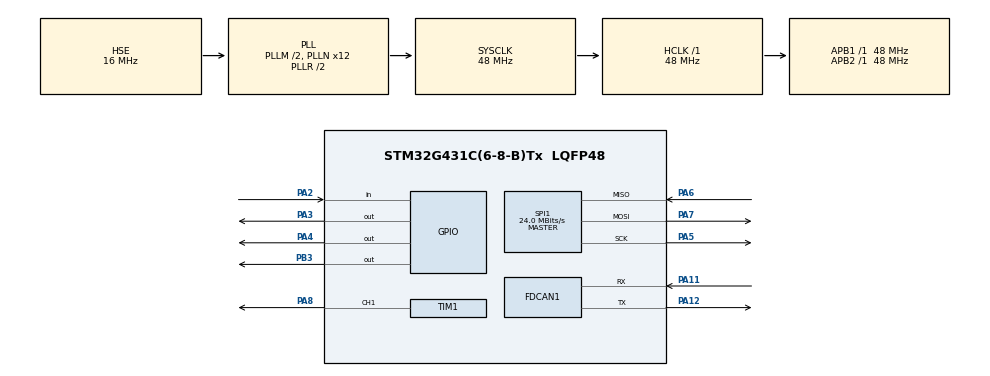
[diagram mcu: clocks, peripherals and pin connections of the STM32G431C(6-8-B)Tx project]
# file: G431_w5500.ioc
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Dma.Request0=TIM1_CH1
Dma.TIM1_CH1.0.Direction=DMA_MEMORY_TO_PERIPH
Dma.TIM1_CH1.0.EventEnable=DISABLE
Dma.TIM1_CH1.0.Instance=DMA1_Channel1
Dma.TIM1_CH1.0.MemDataAlignment=DMA_MDATAALIGN_HALFWORD
Dma.TIM1_CH1.0.MemInc=DMA_MINC_ENABLE
Dma.TIM1_CH1.0.Mode=DMA_NORMAL
Dma.TIM1_CH1.0.PeriphDataAlignment=DMA_PDATAALIGN_HALFWORD
Dma.TIM1_CH1.0.PeriphInc=DMA_PINC_DISABLE
Dma.TIM1_CH1.0.Polarity=HAL_DMAMUX_REQ_GEN_RISING
Dma.TIM1_CH1.0.Priority=DMA_PRIORITY_LOW
Dma.TIM1_CH1.0.RequestNumber=1
Dma.TIM1_CH1.0.SignalID=NONE
Dma.TIM1_CH1.0.SyncEnable=DISABLE
Dma.TIM1_CH1.0.SyncPolarity=HAL_DMAMUX_SYNC_NO_EVENT
Dma.TIM1_CH1.0.SyncRequestNumber=1
Dma.TIM1_CH1.0.SyncSignalID=NONE
FDCAN1.CalculateBaudRateNominal=1000000
FDCAN1.CalculateTimeBitNominal=1000
FDCAN1.CalculateTimeQuantumNominal=62.5
FDCAN1.NominalPrescaler=3
FDCAN1.NominalTimeSeg1=13
FDCAN1.NominalTimeSeg2=2
Mcu.Family=STM32G4
Mcu.Name=STM32G431C(6-8-B)Tx
Mcu.Package=LQFP48
NVIC.DMA1_Channel1_IRQn=true\:0\:0\:false\:false\:true\:false\:true\:true
NVIC.FDCAN1_IT0_IRQn=true\:5\:0\:false\:false\:true\:false\:true\:true
NVIC.PriorityGroup=NVIC_PRIORITYGROUP_4
PA11.Mode=FDCAN_Activate
PA11.Signal=FDCAN1_RX
PA12.Mode=FDCAN_Activate
PA12.Signal=FDCAN1_TX
PA13.Mode=Serial_Wire
PA13.Signal=SYS_JTMS-SWDIO
PA14.Mode=Serial_Wire
PA14.Signal=SYS_JTCK-SWCLK
PA2.Signal=GPIO_Input
PA3.Signal=GPIO_Output
PA4.Signal=GPIO_Output
PA5.Mode=Full_Duplex_Master
PA5.Signal=SPI1_SCK
PA6.Mode=Full_Duplex_Master
PA6.Signal=SPI1_MISO
PA7.Mode=Full_Duplex_Master
PA7.Signal=SPI1_MOSI
PA8.Signal=S_TIM1_CH1
PB3.Signal=GPIO_Output
PF0-OSC_IN.Mode=HSE-External-Oscillator
PF0-OSC_IN.Signal=RCC_OSC_IN
PF1-OSC_OUT.Mode=HSE-External-Oscillator
PF1-OSC_OUT.Signal=RCC_OSC_OUT
ProjectManager.HeapSize=0x200
ProjectManager.StackSize=0x400
ProjectManager.TargetToolchain=CMake
RCC.ADC12Freq_Value=48000000
RCC.AHBFreq_Value=48000000
RCC.APB1Freq_Value=48000000
RCC.APB1TimFreq_Value=48000000
RCC.APB2Freq_Value=48000000
RCC.APB2TimFreq_Value=48000000
RCC.CortexFreq_Value=48000000
RCC.EXTERNAL_CLOCK_VALUE=12288000
RCC.FdcanClockSelection=RCC_FDCANCLKSOURCE_PLL
RCC.HCLKFreq_Value=48000000
RCC.HSE_VALUE=16000000
RCC.HSI48_VALUE=48000000
RCC.HSI_VALUE=16000000
RCC.LSE_VALUE=32768
RCC.PLLM=RCC_PLLM_DIV2
RCC.PLLN=12
RCC.PLLSourceVirtual=RCC_PLLSOURCE_HSE
RCC.SYSCLKFreq_VALUE=48000000
RCC.SYSCLKSource=RCC_SYSCLKSOURCE_PLLCLK
RCC.USBFreq_Value=48000000
RCC.VCOOutputFreq_Value=96000000
SH.S_TIM1_CH1.0=TIM1_CH1,PWM Generation1 CH1
SPI1.CalculateBaudRate=24.0 MBits/s
SPI1.DataSize=SPI_DATASIZE_8BIT
SPI1.Direction=SPI_DIRECTION_2LINES
SPI1.Mode=SPI_MODE_MASTER
SPI1.VirtualType=VM_MASTER
TIM1.AutoReloadPreload=TIM_AUTORELOAD_PRELOAD_ENABLE
TIM1.Channel-PWM\ Generation1\ CH1=TIM_CHANNEL_1
TIM1.OCFastMode_PWM-PWM\ Generation1\ CH1=TIM_OCFAST_ENABLE
TIM1.PeriodNoDither=59
TIM1.Prescaler=0
TIM1.TIM_MasterSlaveMode=TIM_MASTERSLAVEMODE_ENABLE
VP_SYS_VS_DBSignals.Mode=DisableDeadBatterySignals
board=custom

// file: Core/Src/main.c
/* USER CODE BEGIN Header */
/**
  ******************************************************************************
  * @file           : main.c
  * @brief          : Main program body
  ******************************************************************************
  * @attention
  *
  * Copyright (c) 2026 STMicroelectronics.
  * All rights reserved.
  *
  * This software is licensed under terms that can be found in the LICENSE file
  * in the root directory of this software component.
  * If no LICENSE file comes with this software, it is provided AS-IS.
  *
  ******************************************************************************
  */
/* USER CODE END Header */
#include "main.h"

/* USER CODE BEGIN Includes */
#include <stdio.h>
#include <string.h>
#include "wizchip_conf.h"
#include "socket.h"
#include "can_bus.h"
#include "can_udp_bridge.h"
#include "dji_c610.h"
#include "c610_current.h"
#include "c610_position.h"
#include "ttl_servo_can.h"
#include "wave_motor_can.h"
#include "hl_control_udp.h"
#include "as5600.h"
#include "ros2_link.h"
/* USER CODE END Includes */

/* USER CODE BEGIN PD */
// ★この基板 (enndeffector_UDP) は GIM6010/GIM8018 を一切制御しない。GIM 関連の
//   初期化・状態機械・ラウンドロビン・診断はすべて削除済み (別基板 192.168.1.100 の担当)。

// C610本体のダイヤル/DIPで設定するID。実際に使うのは c610_current.h の
// C610_CURRENT_ESC_ID (現在 3)。★C610本体のダイヤルもそれに合わせること。
// wave motor(0x11/0x12)と同一バスなので、フィードバックIDが衝突しにくい 3 or 4 を使う。
#define C610_ESC_ID  3U

// C610 位置制御 (AS5600フィードバック) の2つの基準角 [deg]。GUIからは設定せず、
// ここを編集して書き込むことで決める。
//   C610_ZERO_OFFSET_DEG: AS5600 RAW角度[deg](= raw*360/4096) のうち meas_deg=0 とみなす値。
//                         センサ取り付けのキャリブレーション用 (通常 0 でよい)。
//   C610_POS_ORIGIN_DEG : meas_deg フレームでの「原点」。アプリ(0x07)の入力値はこの原点
//                         からの差分。実目標角 = norm360(origin + 入力差分)。
//                         例: 20 なら、入力 +30 で目標 50deg、入力 0 で 20deg。
//                         ★起動直後は制御しない(電流0でフリー)。アプリが最初に 0x07 を
//                           送った時点で初めて動き出す(自動で原点へは戻らない)。
#define C610_ZERO_OFFSET_DEG  0.0f
#define C610_POS_ORIGIN_DEG   50.0f

// TTLサーボ基板 (プロジェクトルートの CAN_PROTOCOL_TTL-SERVO.md 参照、受信専用)。
// この基板の node_id (仕様書の既定値は0x21)。
#define TTL_SERVO_NODE_ID 0x21U

// wave motor基板 (プロジェクトルートの CAN_PROTOCOL_wave_motor.md 参照、受信専用)。
// 同じ機種がnode_id 0x11と0x12の2台接続されており、この2台で「差動機構」を駆動する:
//   ・2台を逆向きに回す(差動成分) → ピッチ軸
//   ・2台を同じ向きに同じだけ回す(共通成分) → ヨー軸
// 任意のピッチ角のままヨーを、任意のヨー角のままピッチを動かせる (差動キネマティクスで
// 2台のオフセット角へ変換)。実装と伝達比/符号の定数は hl_control_udp.h / .c を参照。
#define WAVE_MOTOR_1_NODE_ID 0x11U
#define WAVE_MOTOR_2_NODE_ID 0x12U

#define HEARTBEAT_SN    2U     // ハートビート専用ソケット (0=Helloデモ, 1=CAN-UDPブリッジと被らないもの)
#define HEARTBEAT_PORT  5002U

// 高レベル制御UDP (tools/hl_control/PROTOCOL_HL_CONTROL_UDP.md 参照)。
// PythonのGUIからOPEN/CLOSEボタン・ピッチ角目標値を受け取り、TTLサーボ(0x21)/
// wave motor(0x11, 0x12)へのCAN送信に変換する。CAN-UDPブリッジ(ソケット1, ポート5001)
// やハートビート(ソケット2, ポート5002)とは別の専用ソケット・ポートを使う。
#define HLCONTROL_SN    3U
#define HLCONTROL_PORT  5003U

// AS5600 磁気エンコーダの角度をUDPで垂れ流す専用ソケット・ポート。
// ハートビート(SN2)と同じくブロードキャスト(255.255.255.255)で送るので、
// PC側はポート5004をbindするだけでよい (STM32のIPを知らなくても受かる)。
// Pythonツール: tools/as5600_monitor/as5600_monitor.py
#define AS5600_SN       4U
#define AS5600_PORT     5004U
#define AS5600_PERIOD_MS 50U   // 送信周期 (約20Hz)
/* USER CODE END PD */

FDCAN_HandleTypeDef hfdcan1;

SPI_HandleTypeDef hspi1;

TIM_HandleTypeDef htim1;
DMA_HandleTypeDef hdma_tim1_ch1;

/* USER CODE BEGIN PV */
TTLServoCAN_t ttl_servo;           // TTLサーボ基板 (CAN_PROTOCOL_TTL-SERVO.md, node_id=0x21、開閉+ヨー軸追従。hl_control_udp.c 参照)
WaveMotorCAN_t wave_motor;         // wave motor基板 1台目 (CAN_PROTOCOL_wave_motor.md, node_id=0x11、差動機構の片側)
WaveMotorCAN_t wave_motor2;        // wave motor基板 2台目 (同一機種, node_id=0x12、差動機構のもう片側)
C610Current_t c610_current;        // DJI C610 電流制御ブロック (CAN ID 0x01、起動後2秒は無送信)
C610Position_t c610_pos;           // DJI C610 位置制御 (AS5600角度フィードバック + PID、電流±0.5A)
/* USER CODE END PV */

void SystemClock_Config(void);
static void MX_GPIO_Init(void);
static void MX_DMA_Init(void);
static void MX_TIM1_Init(void);
static void MX_SPI1_Init(void);
static HAL_StatusTypeDef SPI1_Configure(void);
static void MX_FDCAN1_Init(void);
/* USER CODE BEGIN PFP */
void ws2812_show(void);
void ws2812_fill_buffer(void);
/* USER CODE END PFP */

/* USER CODE BEGIN 0 */
#define LED_NUM 8
#define WS2812_BITS (LED_NUM * 24)

uint16_t ws2812_buf[WS2812_BITS];
uint8_t led_data[LED_NUM][3];  // GRB

#define TIM_PERIOD 59   // 48MHz / 800kHz - 1

#define T0H 17          // 0 の High パルス
#define T1H 33          // 1 の High パルス

volatile uint8_t ws2812_busy = 0;

void W5500_Select(void) {
    HAL_GPIO_WritePin(GPIOA, GPIO_PIN_4, GPIO_PIN_RESET); // ピン番号はご自身の環境に合わせて
}

void W5500_Unselect(void) {
    HAL_GPIO_WritePin(GPIOA, GPIO_PIN_4, GPIO_PIN_SET);
}

// SPI転送のタイムアウト[ms]。以前はHAL_MAX_DELAY(無制限待ち)だったため、モーター
// 駆動時の電気的ノイズ等でSPI転送が完了しなくなると、この呼び出しから二度と
// 戻らずメインループ全体が完全にハングする不具合が実機で複数回再現した
// (ハートビート・CAN中継とも無応答になる)。有限のタイムアウトにすることで
// 必ず呼び出し元に制御を返すようにする。
#define W5500_SPI_TIMEOUT_MS 20U

// SPI転送がタイムアウトした後の復旧処理。CSを確実にHighへ戻し、SPIペリフェラルを
// 再初期化することで、次回以降の呼び出しがブロックされ続けないようにする。
// 今回失敗した1バイト分のデータは失われるが、wizchip側は上位のソケット層で
// 通信が続かなければ再送・タイムアウト処理される想定。
static void W5500_SPI_Recover(void)
{
    W5500_Unselect();
    HAL_SPI_DeInit(&hspi1);
    /* MX_SPI1_Init()は失敗するとError_Handler()(=while(1)の永久ハング)を呼ぶため
     * ここでは使わない。SPI1_Configure()を直接呼び、失敗しても戻り値を無視して
     * 呼び出し元へ制御を返す(次回のSPI呼び出しのタイムアウトで再度ここに来て
     * 再試行するだけにとどめる)。 */
    (void)SPI1_Configure();
}

uint8_t W5500_ReadByte(void) {
    uint8_t rb = 0xFFU;
    if (HAL_SPI_Receive(&hspi1, &rb, 1, W5500_SPI_TIMEOUT_MS) != HAL_OK) {
        W5500_SPI_Recover();
    }
    return rb;
}

void W5500_WriteByte(uint8_t wb) {
    if (HAL_SPI_Transmit(&hspi1, &wb, 1, W5500_SPI_TIMEOUT_MS) != HAL_OK) {
        W5500_SPI_Recover();
    }
}

// AS5600 磁気エンコーダを AS5600_PERIOD_MS ごとに読み、角度をUDP(ポート5004)へ
// ブロードキャストする。ハートビート等と同じく ASCII 1行テキスト。
//   AS5600 seq=.. tick=.. ok=1 raw=2048 mdeg=180000 angle=2047 status=0x20 agc=128 mag=1234
//     seq    : 連番
//     tick   : STM32側 HAL_GetTick() [ms]
//     ok     : 1 = I2C応答あり かつ 磁石検出(STATUS.MD=1)
//     raw    : RAW_ANGLE レジスタ 0..4095 (未加工の機械角)
//     mdeg   : raw を 0.001度単位に換算した整数 (= raw*360000/4096)。
//              ★nano.specs + 浮動小数printf無効のため firmware では %f を使わず整数で送る。
//     angle  : ANGLE レジスタ 0..4095 (ZPOS/MPOS/ヒステリシス適用後)
//     status : STATUS レジスタ (bit5 MH=磁石強すぎ / bit4 ML=磁石弱すぎ / bit3 MD=検出)
//     agc    : AGC レジスタ (3.3V動作で 0..255、中央付近が理想)
//     mag    : MAGNITUDE レジスタ 0..4095
// 角度[deg] への換算は受信側(Python)で raw*360/4096 で行う。
static void AS5600_StreamTick(void)
{
    static uint32_t s_last = 0U;
    static uint32_t s_seq  = 0U;
    static uint8_t  s_sock_opened = 0U;
    static uint16_t s_fail_run = 0U;   // 連続で ok=0 だった回数

    uint32_t now = HAL_GetTick();
    if ((now - s_last) < AS5600_PERIOD_MS) {
        return;
    }
    s_last = now;

    if (!s_sock_opened || (getSn_SR(AS5600_SN) == SOCK_CLOSED)) {
        socket(AS5600_SN, Sn_MR_UDP, AS5600_PORT, 0);
        s_sock_opened = 1U;
    }

    AS5600_Reading_t r;
    HAL_StatusTypeDef st = AS5600_ReadAll(&r);

    // AS5600_ReadAll() は失敗時に内部で1回リトライ+バス回復するが、それでも読めない
    // 状態が続く場合 (電源投入時のモーター突入で I2C バスが wedge したまま等) は、
    // GPIO 再設定を含む強めの回復を約1秒ごとに試みる。
    if ((st == HAL_OK) && r.ok) {
        s_fail_run = 0U;
    } else if (s_fail_run < 0xFFFFU) {
        s_fail_run++;
        if ((s_fail_run % 20U) == 0U) {   // 20 サンプル ≒ 1秒
            AS5600_Recover();
        }
    }

    uint32_t mdeg = ((uint32_t)r.raw_angle * 360000U) / 4096U;

    // AS5600 の生サンプルを C610 位置制御コントローラへ渡す (I2C の二重読み回避)。
    // ok==0 のサンプルは Update 内で無視される。
    C610Position_Update(&c610_pos, &r, now);

    // C610 カスケード位置制御のテレメトリ
    // (nano.specs で %f 不可のため全て整数: mdeg=1/1000度, mdps=1/1000度/秒, ma=1/1000A)
    char msg[320];
    int len = snprintf(msg, sizeof(msg),
                       "AS5600 seq=%lu tick=%lu ok=%d raw=%u mdeg=%lu angle=%u status=0x%02X agc=%u mag=%u "
                       "c610_en=%d c610_act=%d c610_org_mdeg=%ld c610_off_mdeg=%ld c610_tgt_mdeg=%ld "
                       "c610_meas_mdeg=%ld c610_err_mdeg=%ld "
                       "c610_vsp_mdps=%ld c610_vel_mdps=%ld c610_i_ma=%ld\r\n",
                       (unsigned long)s_seq++, (unsigned long)now,
                       (int)((st == HAL_OK) && r.ok),
                       (unsigned)r.raw_angle, (unsigned long)mdeg, (unsigned)r.angle,
                       (unsigned)r.status, (unsigned)r.agc, (unsigned)r.magnitude,
                       (int)c610_pos.enabled, (int)C610Current_IsActive(&c610_current),
                       (long)(c610_pos.origin_deg * 1000.0f), (long)(c610_pos.input_offset_deg * 1000.0f),
                       (long)(c610_pos.target_deg * 1000.0f), (long)(c610_pos.meas_deg * 1000.0f),
                       (long)(c610_pos.error_deg * 1000.0f),
                       (long)(c610_pos.vel_setpoint_dps * 1000.0f), (long)(c610_pos.meas_vel_dps * 1000.0f),
                       (long)(c610_pos.out_a * 1000.0f));
    if (len > 0) {
        uint8_t bcast[4] = {255, 255, 255, 255};
        sendto(AS5600_SN, (uint8_t*)msg, (uint16_t)len, bcast, AS5600_PORT);
    }
}

// HAL_Delay()の代わりに使う。待っている間もCAN<->UDPブリッジのポーリングと
// CANBus_Poll()(Bus-Off検出・自動復帰)を挟むことで、PCからのCAN送信コマンドへの
// 応答性と、CAN通信が止まったままにならないことを確保する (数msの粒度)
static void Delay_WithCANPoll(uint32_t ms)
{
    uint32_t start = HAL_GetTick();
    while ((HAL_GetTick() - start) < ms) {
        CANUDPBridge_Poll();
        CANBus_Poll();
        HLControlUDP_Poll();
        HLControlUDP_WaveTick();          // 0x11/0x12 ソフトスタート(初回 0 送信→整定→目標)＋目標送出
        HLControlUDP_TtlYawFollowTick();  // 0x21(TTLサーボ)を 0x11/0x12 ヨー軸へ 500ms周期でランプ追従
        AS5600_StreamTick();             // AS5600 読み取り + C610 位置制御 Update + UDP(5004) 送信
        C610Position_Failsafe(&c610_pos, HAL_GetTick()); // AS5600 サンプル停止時は電流を0に
        C610Current_Tick(&c610_current); // DJI C610(0x01) 電流指令の送出 (起動後2秒間は無送信)。
                                         // C610はコマンド途絶で停止するため ~5ms 間隔で送り続ける
        ROS2Link_Poll();                 // ROS2 0x01 受信 (未接続なら no-op)
        ROS2Link_Tick();                 // ROS2 0x81 送信 (未接続なら no-op)
        HAL_Delay(5);
    }
}

/* USER CODE END 0 */

int main(void)
{

  /* MCU Configuration--------------------------------------------------------*/

  /* Reset of all peripherals, Initializes the Flash interface and the Systick. */
  HAL_Init();

  /* Configure the system clock */
  SystemClock_Config();

  /* Initialize all configured peripherals */
  MX_GPIO_Init();
  MX_DMA_Init();
  MX_TIM1_Init();
  MX_SPI1_Init();
  MX_FDCAN1_Init();
  /* USER CODE BEGIN 2 */
  HAL_GPIO_WritePin(GPIOB, GPIO_PIN_3, GPIO_PIN_RESET);

  // 修正2: W5500の電源投入/リセット解除タイミング競合対策。
  //   基板は バッテリ→XL1509(5V)→AMS1117(3.3V) で大容量コンデンサ(C4 470uF等)を
  //   充電するため、3.3Vレールの立ち上がりに数十msかかる。MCUはそれより速く起動
  //   するので、電源が規定電圧に達する前にRSTnを解除するとW5500内部PLL/PHYが
  //   ロックできず、以後SPIは一見応答するのに通信できない状態(電源再投入まで復帰
  //   しない)になる。まずレール安定を待ってからリセットし、解除後の待ちも延ばす。
  HAL_Delay(200);                                        // 3.3Vレール安定待ち

  HAL_GPIO_WritePin(GPIOA, GPIO_PIN_3, GPIO_PIN_RESET);
  HAL_Delay(10);                                         // RSTn Low (最低500us、余裕をみて10ms)
  HAL_GPIO_WritePin(GPIOA, GPIO_PIN_3, GPIO_PIN_SET);
  HAL_Delay(150);                                        // PLLロック+安定待ち (旧50ms→150ms)
  // 初期色: UDPのポートを開く(socket()を呼ぶ)前は赤。通信状態表示LEDの
  // 「未通信」状態としてここで先に点灯させておく(以後は while(1) ループ内で
  // CANUDPBridge_HasClient()/HLControlUDP_HasReceived()を見て赤/青を切り替える)。
  for (int i = 0; i < LED_NUM; i++) {
      led_data[i][0] = 0;    // G
      led_data[i][1] = 100;  // R
      led_data[i][2] = 0;    // B
  }
  ws2812_show();

  // 1. ネットワーク情報の定義
  wiz_NetInfo gWIZNETINFO = {
      // ★このブランチ(enndeffector_UDP)はエンドエフェクタ基板用。
      //   GIM基板(192.168.1.100、別ファーム)と同一LANに繋ぐので IP も MAC も別にする
      //   (MAC 末尾 0x65 = 101)。
      .mac = {0x00, 0x08, 0xdc, 0x11, 0x22, 0x65}, // GIM基板とは別のMAC
      .ip  = {192, 168, 1, 101},                  // W5500のIP (エンドエフェクタ基板)
      .sn  = {255, 255, 255, 0},                  // サブネットマスク
      .gw  = {192, 168, 1, 1},                    // ゲートウェイ
      .dns = {8, 8, 8, 8},
      .dhcp = NETINFO_STATIC
  };

  // 2. SPI関数とCS制御関数の登録 (前述の関数を実装済みと想定)
  reg_wizchip_cs_cbfunc(W5500_Select, W5500_Unselect);
  reg_wizchip_spi_cbfunc(W5500_ReadByte, W5500_WriteByte);

  // 3. W5500の初期化 (ソケットバッファサイズの設定: 各2KB)
  uint8_t memsize[2][8] = {{2,2,2,2,2,2,2,2},{2,2,2,2,2,2,2,2}};
  if(wizchip_init(memsize[0], memsize[1]) != 0) {
      // 初期化失敗時の処理
  }
  wizchip_setnetinfo(&gWIZNETINFO);

  // 送信先の情報
  uint8_t dest_ip[4] = {192, 168, 1, 2}; // ★あなたのPCのIPアドレス
  uint16_t dest_port = 5000;             // 送信先ポート番号
  uint8_t sn = 0;                        // 使用するソケット番号

  // ハートビート: W5500/Ethernetが単体で生きているかを確認するための定期ブロードキャスト。
  // 送信先を255.255.255.255(ブロードキャスト)にしているので、PC側のIP設定が
  // まだ合っていなくても同一セグメント上ならWiresharkに映る (udp.port==5002 でフィルタ)。
  uint8_t hb_broadcast_ip[4] = {255, 255, 255, 255};
  uint32_t hb_seq = 0;
  socket(HEARTBEAT_SN, Sn_MR_UDP, HEARTBEAT_PORT, 0);
  {
      // このあと呼ぶMX_FDCAN1_Init()がもし固まった場合、while(1)ループに一切
      // 到達できず定期ハートビートも送られなくなる。それでも「Ethernetの初期化
      // 自体は成功した」ことを確認できるよう、ここで最低1発だけ即時送信しておく。
      char hb_msg[48];
      int hb_len = snprintf(hb_msg, sizeof(hb_msg), "HB (boot) tick=%lu\r\n",
                             (unsigned long)HAL_GetTick());
      if (hb_len > 0) {
          sendto(HEARTBEAT_SN, (uint8_t*)hb_msg, (uint16_t)hb_len, hb_broadcast_ip, HEARTBEAT_PORT);
      }
  }

  // CAN<->UDPブリッジ (CAN ID調査用)。ソケット1、ポート5001を使う (上記の"Hello"デモとは別ソケット)。
  // PC側からこのポートに一度何か送れば、以後は受信した全CANフレームがそのPCへ生転送される。
  CANUDPBridge_Init(1, 5001);

  // CANバスの起動 (フィルタ設定 + HAL_FDCAN_Start + Rx割り込み有効化)
  CANBus_Init(&hfdcan1);

  // DJI C610 (M2006用ESC) 電流制御ブロックの初期化。対象は CAN ID 0x01 (ESC ID 1)。
  // C610_CURRENT_Init() は内部で DJIC610_Init() も呼ぶ。ここでは CAN 送信しない。
  // ★C610ドライバは電源投入から起動完了まで時間がかかるため、C610Current_Tick() は
  //   起動から C610_CURRENT_STARTUP_DELAY_MS(=2秒) 経過するまで C610 へ一切送信しない。
  C610Current_Init(&c610_current);
  C610Current_SetCurrentA(&c610_current, 0.0f);   // 初期目標電流 0A (必要に応じて更新する)

  // AS5600 の角度をフィードバックにした C610 のカスケード位置制御 (位置P→速度PI→電流)。
  // ★起動直後は無効 (電流0でフリー)。アプリが最初に高レベル制御UDP(0x07)を送った時点で
  //   初めて制御開始 (自動で原点へは戻らない)。基準角(ZERO_OFFSET/ORIGIN)とゲイン
  //   (c610_position.h)はコンパイル時定数。0x07 では「原点からの差分角」のみ設定する。
  // 実際の AS5600 読み取りは AS5600_StreamTick() 内で行い、そこから C610Position_Update() を呼ぶ。
  C610Position_Init(&c610_pos, &c610_current, C610_ZERO_OFFSET_DEG, C610_POS_ORIGIN_DEG);

  // TTLサーボ基板 (受信専用) の初期化。実機へは何も送信しない。
  TTLServoCAN_Init(&ttl_servo, TTL_SERVO_NODE_ID);

  // wave motor基板 (受信専用) の初期化。実機へは何も送信しない。
  WaveMotorCAN_Init(&wave_motor, WAVE_MOTOR_1_NODE_ID);
  WaveMotorCAN_Init(&wave_motor2, WAVE_MOTOR_2_NODE_ID);

  // 高レベル制御UDP (Python GUIのOPEN/CLOSEボタン・ピッチ/ヨー角目標値・C610操作を受け取る)。
  // ★この基板は GIM を制御しないので GIM 引数は無い。
  HLControlUDP_Init(HLCONTROL_SN, HLCONTROL_PORT, &ttl_servo, &wave_motor, &wave_motor2);

  // Python GUI から C610(0x01) の目標電流[A] / 位置目標を受け取れるようにする
  // (0x06 = 手動電流、0x07 = 原点からの差分角)。目標値の記憶のみで、実送信は
  // C610Current_Tick() が担当 (起動後2秒間は無送信)。
  HLControlUDP_SetC610(&c610_current, &c610_pos);

  // AS5600 磁気エンコーダ (ソフトウェアI2C: SCL=PA15, SDA=PB7)。
  // 角度は AS5600_StreamTick() が UDPポート5004へ周期送信する。
  AS5600_Init();

  // ROS2 (sharmech) 連携。UDP 8888 で 0x01 polar (theta/gripper/bit1) を受信、
  // 8889 へ 0x81 feedback を送信。既存の CAN 層・5003 番プロトコルには影響しない
  // (docs/mcu_spec.md §10.3)。フィードバック宛先は dest_ip (= ROS2 側 PC) と同じにしておく。
  ROS2Link_Init(dest_ip);
  /* USER CODE END 2 */

  /* Infinite loop */
  while (1)
  {

    /* USER CODE BEGIN 3 */
	    HAL_GPIO_TogglePin(GPIOB, GPIO_PIN_3);

        // ハートビート送信 (ループ1周につき1回、約1.5秒間隔)。
        // canBusOff はCAN Bus-Offからの自動復帰回数(CANBus_Poll()参照)。0以外なら
        // どこかのCANノード宛の送信でACKが返らずBus-Offになったことがある = 配線/
        // 相手側の設定(ボーレート・node_id)を疑うべきサイン。
        // txQFail はTx FIFO満杯等でCAN送信キューへの投入自体に失敗した回数
        // (CANBus_GetTxQueueFailures()参照)。増え続けているなら、どこかのノード宛の
        // 送信が詰まって他ノードの送信も巻き添えで失敗している可能性が高い。
        {
            char hb_msg[128];
            // FDCAN エラーカウンタ / プロトコル状態。
            //   TEC/REC  : 送信/受信エラーカウンタ (0付近=健全, 増減する=エラー発生中,
            //              128以上=error-passive)
            //   LEC      : Last Error Code (0=NoError, 1=Stuff, 2=Form, 3=Ack, 4=Bit1,
            //              5=Bit0, 6=CRC, 7=NoChange)。Ack(3) だらけ=誰もACKしていない、
            //              Bit/Form/Stuff/CRC=信号品質。
            FDCAN_ErrorCountersTypeDef ec = {0};
            FDCAN_ProtocolStatusTypeDef ps = {0};
            (void)HAL_FDCAN_GetErrorCounters(&hfdcan1, &ec);
            (void)HAL_FDCAN_GetProtocolStatus(&hfdcan1, &ps);
            int hb_len = snprintf(hb_msg, sizeof(hb_msg),
                                   "HB seq=%lu tick=%lu canBusOff=%lu txQFail=%lu TEC=%lu REC=%lu LEC=%lu passive=%lu warn=%lu\r\n",
                                   (unsigned long)hb_seq++, (unsigned long)HAL_GetTick(),
                                   (unsigned long)CANBus_GetBusOffRecoveries(),
                                   (unsigned long)CANBus_GetTxQueueFailures(),
                                   (unsigned long)ec.TxErrorCnt, (unsigned long)ec.RxErrorCnt,
                                   (unsigned long)ps.LastErrorCode,
                                   (unsigned long)ps.ErrorPassive, (unsigned long)ps.Warning);
            if (hb_len > 0) {
                sendto(HEARTBEAT_SN, (uint8_t*)hb_msg, (uint16_t)hb_len, hb_broadcast_ip, HEARTBEAT_PORT);
            }
        }

        // 通信状態表示LED: 生CANブリッジ(can_udp_bridge.c)または高レベル制御UDP
        // (hl_control_udp.c)のどちらかでPCから1度でもUDPを受信していれば青、
        // まだ一度も受信していなければ赤 (どちらのgetterも一度1になったら以後
        // 0に戻らないラッチ式なので、通信が一瞬でも成立すればそれ以降ずっと青のまま)。
        {
            uint8_t udp_active = (uint8_t)(CANUDPBridge_HasClient() || HLControlUDP_HasReceived());
            for (int i = 0; i < LED_NUM; i++) {
                led_data[i][0] = 0;                       // G
                led_data[i][1] = udp_active ? 0U : 100U;   // R (未通信=赤)
                led_data[i][2] = udp_active ? 100U : 0U;   // B (通信あり=青)
            }
        }
        ws2812_show();
        Delay_WithCANPoll(1500);

        // ソケットが開いていなければ開く
		if (getSn_SR(sn) == SOCK_CLOSED) {
			socket(sn, Sn_MR_UDP, 5000, 0);
		}

		// データの送信
		char *msg = "Hello from STM32G431!\r\n";
		sendto(sn, (uint8_t*)msg, strlen(msg), dest_ip, dest_port);

		HAL_GPIO_TogglePin(GPIOA, GPIO_PIN_5); // 生存確認用LED (LD2)
//		HAL_Delay(1000); // 1秒おき

        // Python GUIからの高レベル制御UDP(OPEN/CLOSEボタン・ピッチ/ヨー角目標値・C610操作)を
        // その場で処理する。HLControlUDP_Poll()はDelay_WithCANPoll()内でも呼んでいる
        // (数ms粒度の応答性確保)ので、ここでの呼び出しは無くても実用上問題ないが、
        // Delay_WithCANPoll()を挟まない一瞬の間も取りこぼさないよう念のため呼ぶ。
        HLControlUDP_Poll();
        HLControlUDP_WaveTick();           // 0x11/0x12 ソフトスタート＋目標送出
        HLControlUDP_TtlYawFollowTick();   // 0x21 を 0x11/0x12 ヨー軸へ 500ms周期でランプ追従
        AS5600_StreamTick();   // AS5600 読み取り + C610 位置制御 Update + UDP(5004) 送信

        // DJI C610 (CAN ID 0x01) の電流指令を送る。起動から2秒間はこの関数が
        // 何もせず即 return する (C610ドライバの起動待ち)。電流値は位置制御
        // コントローラ(C610Position_Update)または手動コマンド(0x06)が設定する。
        C610Position_Failsafe(&c610_pos, HAL_GetTick());
        C610Current_Tick(&c610_current);
        ROS2Link_Poll();
        ROS2Link_Tick();

  }
  /* USER CODE END 3 */
}

void SystemClock_Config(void)
{
  RCC_OscInitTypeDef RCC_OscInitStruct = {0};
  RCC_ClkInitTypeDef RCC_ClkInitStruct = {0};

  /** Configure the main internal regulator output voltage
  */
  HAL_PWREx_ControlVoltageScaling(PWR_REGULATOR_VOLTAGE_SCALE1);

  /** Initializes the RCC Oscillators according to the specified parameters
  * in the RCC_OscInitTypeDef structure.
  */
  RCC_OscInitStruct.OscillatorType = RCC_OSCILLATORTYPE_HSE;
  RCC_OscInitStruct.HSEState = RCC_HSE_ON;
  RCC_OscInitStruct.PLL.PLLState = RCC_PLL_ON;
  RCC_OscInitStruct.PLL.PLLSource = RCC_PLLSOURCE_HSE;
  RCC_OscInitStruct.PLL.PLLM = RCC_PLLM_DIV2;
  RCC_OscInitStruct.PLL.PLLN = 12;
  RCC_OscInitStruct.PLL.PLLP = RCC_PLLP_DIV2;
  RCC_OscInitStruct.PLL.PLLQ = RCC_PLLQ_DIV2;
  RCC_OscInitStruct.PLL.PLLR = RCC_PLLR_DIV2;
  if (HAL_RCC_OscConfig(&RCC_OscInitStruct) != HAL_OK)
  {
    Error_Handler();
  }

  /** Initializes the CPU, AHB and APB buses clocks
  */
  RCC_ClkInitStruct.ClockType = RCC_CLOCKTYPE_HCLK|RCC_CLOCKTYPE_SYSCLK
                              |RCC_CLOCKTYPE_PCLK1|RCC_CLOCKTYPE_PCLK2;
  RCC_ClkInitStruct.SYSCLKSource = RCC_SYSCLKSOURCE_PLLCLK;
  RCC_ClkInitStruct.AHBCLKDivider = RCC_SYSCLK_DIV1;
  RCC_ClkInitStruct.APB1CLKDivider = RCC_HCLK_DIV1;
  RCC_ClkInitStruct.APB2CLKDivider = RCC_HCLK_DIV1;

  if (HAL_RCC_ClockConfig(&RCC_ClkInitStruct, FLASH_LATENCY_1) != HAL_OK)
  {
    Error_Handler();
  }
}

static void MX_FDCAN1_Init(void)
{

  /* USER CODE BEGIN FDCAN1_Init 1 */
  // ⚠ CubeMX再生成でここが書き換わったら要注意: AutoRetransmissionは意図的にDISABLE
  // にしている。STM32G4のFDCAN Tx FIFO/QueueはHW的に3要素しかない(HALの
  // SRAMCAN_TFQ_NBR=3固定)。ENABLEだとACKが返らない(未配線/未設定/電源off等の)
  // ノード宛のフレームが無限リトライされ続けてFIFOの先頭を永久に占有し、その後ろに
  // 積んだ他ノード宛のフレームがHAL_FDCAN_AddMessageToTxFifoQ()でHAL_ERROR(満杯)を
  // 返して黙って送信キューに入れなくなる(＝一部のノードだけ動かなくなる)。DISABLEなら
  // 1回失敗した時点でそのフレームを諦めてFIFOを空けるので、この詰まりが起きない。
  // 位置制御コマンドはどうせ毎ループ再送しているので、単発のロストがあっても実害は無い。
  //
  // ⚠ ビットレート: FDCAN kernel clock = PCLK1 = 48MHz (SystemClock_Config 参照。
  //   FDCAN clock source は reset default の PCLK1、ClockDivider=DIV1)。
  //   bit rate = 48MHz / (NominalPrescaler * (1 + Seg1 + Seg2))
  //            = 48MHz / (NominalPrescaler * 16)     ← Seg1=13, Seg2=2, sample point 87.5%
  //     Prescaler  3 -> 1 Mbps   ★現在これ
  //     Prescaler  6 -> 500 kbps
  //     Prescaler 12 -> 250 kbps
  //     Prescaler 24 -> 125 kbps
  //   ★全 CAN ノード (GIM8108 x2, GIM6010 x2, その他) の can.config.baud_rate を
  //     STM32 と同じ値に合わせること。1つでも違うとバス全体が停止する。
  /* USER CODE END FDCAN1_Init 1 */
  hfdcan1.Instance = FDCAN1;
  hfdcan1.Init.ClockDivider = FDCAN_CLOCK_DIV1;
  hfdcan1.Init.FrameFormat = FDCAN_FRAME_CLASSIC;
  hfdcan1.Init.Mode = FDCAN_MODE_NORMAL;
  hfdcan1.Init.AutoRetransmission = DISABLE;
  hfdcan1.Init.TransmitPause = DISABLE;
  hfdcan1.Init.ProtocolException = DISABLE;
  hfdcan1.Init.NominalPrescaler = 3;   /* 48MHz/(3*16) = 1 Mbps (上のコメント参照) */
  hfdcan1.Init.NominalSyncJumpWidth = 1;
  hfdcan1.Init.NominalTimeSeg1 = 13;
  hfdcan1.Init.NominalTimeSeg2 = 2;
  hfdcan1.Init.DataPrescaler = 1;
  hfdcan1.Init.DataSyncJumpWidth = 1;
  hfdcan1.Init.DataTimeSeg1 = 1;
  hfdcan1.Init.DataTimeSeg2 = 1;
  hfdcan1.Init.StdFiltersNbr = 0;
  hfdcan1.Init.ExtFiltersNbr = 0;
  hfdcan1.Init.TxFifoQueueMode = FDCAN_TX_FIFO_OPERATION;
  if (HAL_FDCAN_Init(&hfdcan1) != HAL_OK)
  {
    Error_Handler();
  }

}

// SPI1のフィールド設定+HAL_SPI_Init()呼び出しだけを切り出したもの。MX_SPI1_Init()
// (起動時、失敗したらError_Handler()=while(1)の永久ハングで停止して構わない)と、
// W5500_SPI_Recover()(実行時のSPIタイムアウト復旧、失敗してもハングさせては
// いけない)の両方から使う。
static HAL_StatusTypeDef SPI1_Configure(void)
{
  /* SPI1 parameter configuration*/
  hspi1.Instance = SPI1;
  hspi1.Init.Mode = SPI_MODE_MASTER;
  hspi1.Init.Direction = SPI_DIRECTION_2LINES;
  hspi1.Init.DataSize = SPI_DATASIZE_8BIT;
  hspi1.Init.CLKPolarity = SPI_POLARITY_LOW;
  hspi1.Init.CLKPhase = SPI_PHASE_1EDGE;
  hspi1.Init.NSS = SPI_NSS_SOFT;
  hspi1.Init.BaudRatePrescaler = SPI_BAUDRATEPRESCALER_2;
  hspi1.Init.FirstBit = SPI_FIRSTBIT_MSB;
  hspi1.Init.TIMode = SPI_TIMODE_DISABLE;
  hspi1.Init.CRCCalculation = SPI_CRCCALCULATION_DISABLE;
  hspi1.Init.CRCPolynomial = 7;
  hspi1.Init.CRCLength = SPI_CRC_LENGTH_DATASIZE;
  hspi1.Init.NSSPMode = SPI_NSS_PULSE_ENABLE;
  return HAL_SPI_Init(&hspi1);
}

static void MX_SPI1_Init(void)
{

  if (SPI1_Configure() != HAL_OK)
  {
    Error_Handler();
  }

}

static void MX_TIM1_Init(void)
{

  TIM_MasterConfigTypeDef sMasterConfig = {0};
  TIM_OC_InitTypeDef sConfigOC = {0};
  TIM_BreakDeadTimeConfigTypeDef sBreakDeadTimeConfig = {0};

  htim1.Instance = TIM1;
  htim1.Init.Prescaler = 0;
  htim1.Init.CounterMode = TIM_COUNTERMODE_UP;
  htim1.Init.Period = 59;
  htim1.Init.ClockDivision = TIM_CLOCKDIVISION_DIV1;
  htim1.Init.RepetitionCounter = 0;
  htim1.Init.AutoReloadPreload = TIM_AUTORELOAD_PRELOAD_ENABLE;
  if (HAL_TIM_PWM_Init(&htim1) != HAL_OK)
  {
    Error_Handler();
  }
  sMasterConfig.MasterOutputTrigger = TIM_TRGO_RESET;
  sMasterConfig.MasterOutputTrigger2 = TIM_TRGO2_RESET;
  sMasterConfig.MasterSlaveMode = TIM_MASTERSLAVEMODE_ENABLE;
  if (HAL_TIMEx_MasterConfigSynchronization(&htim1, &sMasterConfig) != HAL_OK)
  {
    Error_Handler();
  }
  sConfigOC.OCMode = TIM_OCMODE_PWM1;
  sConfigOC.Pulse = 0;
  sConfigOC.OCPolarity = TIM_OCPOLARITY_HIGH;
  sConfigOC.OCNPolarity = TIM_OCNPOLARITY_HIGH;
  sConfigOC.OCFastMode = TIM_OCFAST_ENABLE;
  sConfigOC.OCIdleState = TIM_OCIDLESTATE_RESET;
  sConfigOC.OCNIdleState = TIM_OCNIDLESTATE_RESET;
  if (HAL_TIM_PWM_ConfigChannel(&htim1, &sConfigOC, TIM_CHANNEL_1) != HAL_OK)
  {
    Error_Handler();
  }
  sBreakDeadTimeConfig.OffStateRunMode = TIM_OSSR_DISABLE;
  sBreakDeadTimeConfig.OffStateIDLEMode = TIM_OSSI_DISABLE;
  sBreakDeadTimeConfig.LockLevel = TIM_LOCKLEVEL_OFF;
  sBreakDeadTimeConfig.DeadTime = 0;
  sBreakDeadTimeConfig.BreakState = TIM_BREAK_DISABLE;
  sBreakDeadTimeConfig.BreakPolarity = TIM_BREAKPOLARITY_HIGH;
  sBreakDeadTimeConfig.BreakFilter = 0;
  sBreakDeadTimeConfig.BreakAFMode = TIM_BREAK_AFMODE_INPUT;
  sBreakDeadTimeConfig.Break2State = TIM_BREAK2_DISABLE;
  sBreakDeadTimeConfig.Break2Polarity = TIM_BREAK2POLARITY_HIGH;
  sBreakDeadTimeConfig.Break2Filter = 0;
  sBreakDeadTimeConfig.Break2AFMode = TIM_BREAK_AFMODE_INPUT;
  sBreakDeadTimeConfig.AutomaticOutput = TIM_AUTOMATICOUTPUT_DISABLE;
  if (HAL_TIMEx_ConfigBreakDeadTime(&htim1, &sBreakDeadTimeConfig) != HAL_OK)
  {
    Error_Handler();
  }
  HAL_TIM_MspPostInit(&htim1);

}

static void MX_DMA_Init(void)
{

  /* DMA controller clock enable */
  __HAL_RCC_DMAMUX1_CLK_ENABLE();
  __HAL_RCC_DMA1_CLK_ENABLE();

  /* DMA interrupt init */
  /* DMA1_Channel1_IRQn interrupt configuration */
  HAL_NVIC_SetPriority(DMA1_Channel1_IRQn, 0, 0);
  HAL_NVIC_EnableIRQ(DMA1_Channel1_IRQn);

}

static void MX_GPIO_Init(void)
{
  GPIO_InitTypeDef GPIO_InitStruct = {0};

  /* GPIO Ports Clock Enable */
  __HAL_RCC_GPIOF_CLK_ENABLE();
  __HAL_RCC_GPIOA_CLK_ENABLE();
  __HAL_RCC_GPIOB_CLK_ENABLE();

  /*Configure GPIO pin Output Level */
  HAL_GPIO_WritePin(GPIOA, GPIO_PIN_3|GPIO_PIN_4, GPIO_PIN_RESET);

  /*Configure GPIO pin Output Level */
  HAL_GPIO_WritePin(GPIOB, GPIO_PIN_3, GPIO_PIN_RESET);

  /*Configure GPIO pin : PA2 */
  GPIO_InitStruct.Pin = GPIO_PIN_2;
  GPIO_InitStruct.Mode = GPIO_MODE_INPUT;
  GPIO_InitStruct.Pull = GPIO_NOPULL;
  HAL_GPIO_Init(GPIOA, &GPIO_InitStruct);

  /*Configure GPIO pins : PA3 PA4 */
  GPIO_InitStruct.Pin = GPIO_PIN_3|GPIO_PIN_4;
  GPIO_InitStruct.Mode = GPIO_MODE_OUTPUT_PP;
  GPIO_InitStruct.Pull = GPIO_NOPULL;
  GPIO_InitStruct.Speed = GPIO_SPEED_FREQ_LOW;
  HAL_GPIO_Init(GPIOA, &GPIO_InitStruct);

  /*Configure GPIO pin : PB3 */
  GPIO_InitStruct.Pin = GPIO_PIN_3;
  GPIO_InitStruct.Mode = GPIO_MODE_OUTPUT_PP;
  GPIO_InitStruct.Pull = GPIO_NOPULL;
  GPIO_InitStruct.Speed = GPIO_SPEED_FREQ_LOW;
  HAL_GPIO_Init(GPIOB, &GPIO_InitStruct);

}

/* USER CODE BEGIN 4 */
// 常時消灯にする NeoPixel のインデックス (1番=0, 2番=1)。led_data に何が入っていても
// この2個だけは黒で出力する。
#define WS2812_FORCE_OFF_MASK  ((1U << 0) | (1U << 1))

void ws2812_fill_buffer(void)
{
    int idx = 0;

    for (int i = 0; i < LED_NUM; i++) {
        uint8_t force_off = ((WS2812_FORCE_OFF_MASK >> i) & 1U) != 0U;
        uint8_t g = force_off ? 0U : led_data[i][0];
        uint8_t r = force_off ? 0U : led_data[i][1];
        uint8_t b = force_off ? 0U : led_data[i][2];

        uint8_t grb[3] = {g, r, b};

        for (int c = 0; c < 3; c++) {
            for (int bit = 7; bit >= 0; bit--) {
                if (grb[c] & (1 << bit)) {
                    ws2812_buf[idx++] = T1H;
                } else {
                    ws2812_buf[idx++] = T0H;
                }
            }
        }
    }
}

void ws2812_show(void)
{
    // 前回の転送が終わるまで待つ
    while (ws2812_busy);

    ws2812_fill_buffer();

    ws2812_busy = 1;

    HAL_TIM_PWM_Start_DMA(&htim1, TIM_CHANNEL_1,
                          (uint32_t*)ws2812_buf,
                          WS2812_BITS);
}

void HAL_TIM_PWM_PulseFinishedCallback(TIM_HandleTypeDef *htim)
{
    if (htim->Instance == TIM1) {
        // PWM + DMA 停止
        HAL_TIM_PWM_Stop_DMA(&htim1, TIM_CHANNEL_1);

        // 出力を Low に固定（リセットパルス用）
        __HAL_TIM_SET_COMPARE(&htim1, TIM_CHANNEL_1, 0);

        // 50µs 以上 Low を維持（ここはブロッキングでもOK）
        // 48MHz / 1us = 48カウントなので、適当に待つなら：
        for (volatile int i = 0; i < 3000; i++); // 数十µs〜

        ws2812_busy = 0;
    }
}

/* USER CODE END 4 */

void Error_Handler(void)
{
  __disable_irq();
  while (1)
  {
  }
}
